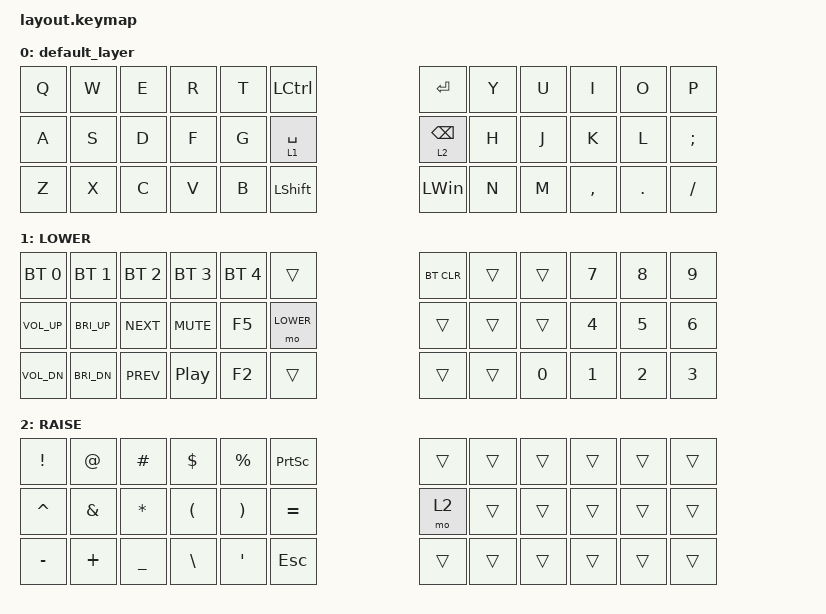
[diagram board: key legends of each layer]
#include <behaviors.dtsi>
#include <dt-bindings/zmk/bt.h>
#include <dt-bindings/zmk/keys.h>

#define DEFAULT 0
#define LOWER   1
#define RAISE   2

/ {
    keymap {
        compatible = "zmk,keymap";

        default_layer {
            bindings = <
&kp Q  &kp W  &kp E  &kp R  &kp T  &kp LEFT_CONTROL  &kp ENTER   &kp Y  &kp U  &kp I      &kp O    &kp P
&kp A  &kp S  &kp D  &kp F  &kp G  &lt 1 SPACE       &lt 2 BSPC  &kp H  &kp J  &kp K      &kp L    &kp SEMI
&kp Z  &kp X  &kp C  &kp V  &kp B  &kp LEFT_SHIFT    &kp LWIN    &kp N  &kp M  &kp COMMA  &kp DOT  &kp FSLH
            >;
        };

        LOWER {
            bindings = <
&bt BT_SEL 0  &bt BT_SEL 1  &bt BT_SEL 2  &bt BT_SEL 3      &bt BT_SEL 4  &trans     &bt BT_CLR  &trans  &trans  &kp N7  &kp N8  &kp N9
&kp C_VOL_UP  &kp C_BRI_UP  &kp C_NEXT    &kp C_MUTE        &kp F5        &mo LOWER  &trans      &trans  &trans  &kp N4  &kp N5  &kp N6
&kp C_VOL_DN  &kp C_BRI_DN  &kp C_PREV    &kp C_PLAY_PAUSE  &kp F2        &trans     &trans      &trans  &kp N0  &kp N1  &kp N2  &kp N3
            >;
        };

        RAISE {
            bindings = <
&kp EXCL   &kp AT         &kp HASH        &kp DLLR  &kp PRCNT  &kp PRINTSCREEN  &trans  &trans  &trans  &trans  &trans  &trans
&kp CARET  &kp AMPERSAND  &kp ASTRK       &kp LPAR  &kp RPAR   &kp EQUAL        &mo 2   &trans  &trans  &trans  &trans  &trans
&kp MINUS  &kp PLUS       &kp UNDERSCORE  &kp BSLH  &kp SQT    &kp ESC          &trans  &trans  &trans  &trans  &trans  &trans
            >;
        };
    };
};
